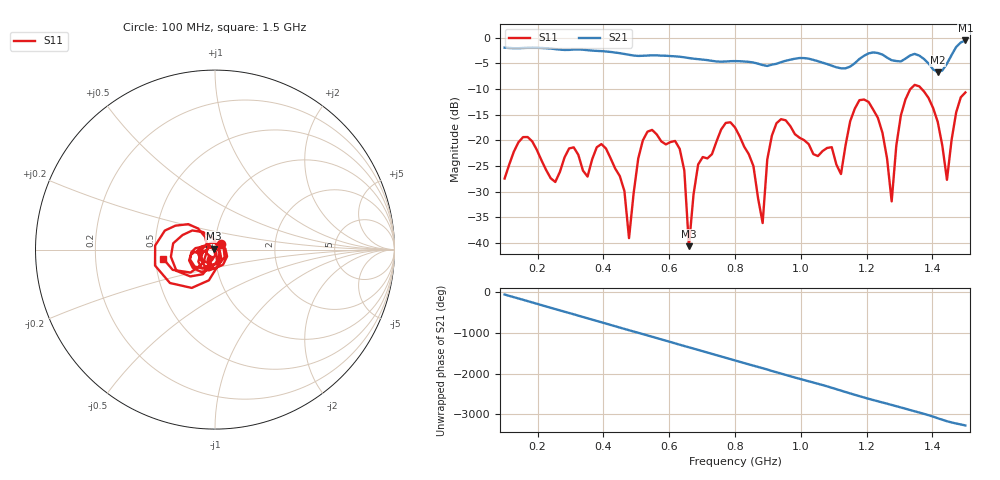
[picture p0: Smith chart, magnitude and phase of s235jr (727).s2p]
! NanoVNA-App
! Date: 2025-09-25 15:09:50
! Start: 100MHz Stop: 1,5GHz Points: 101
! S-Parameter data: F S11 S21 S12 S22
# Hz S RI R 50
!  Frequency  S11_Real  S11_Imag  S21_Real  S21_Imag  S12_Real  S12_Imag  S22_Real  S22_Imag
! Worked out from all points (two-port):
!   101 points, 100 MHz to 1.5 GHz, reference 50 ohm
!   highest |S21| = -0.57 dB at 1.5 GHz (marker M1); lowest = -6.7 dB at 1.416 GHz (marker M2)
!   |S21| within 3 dB of the highest: start of sweep to 503.4 MHz; 512.6 MHz to 594.5 MHz (81.9 MHz wide, 14.8 % of centre) (the widest 2 of 5)
!   lowest |S11| = -40.7 dB at 660 MHz (marker M3), VSWR 1.02, Z = 49.3 + j0.589 ohm
!   |S11| at or under -10 dB: start of sweep to 1.334 GHz; 1.367 GHz to end of sweep
!   S12 and S22 are empty: the file has one direction only
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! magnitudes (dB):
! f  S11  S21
! 100 MHz  -27.5  -2.0
! 156 MHz  -19.4  -2.0
! 338 MHz  -25.9  -2.4
! 408 MHz  -21.6  -2.7
! 478 MHz  -39.1  -3.4
! 520 MHz  -20.0  -3.6
! 576 MHz  -20.2  -3.5
! 632 MHz  -21.7  -3.7
! 660 MHz  -40.7  -4.0
! 688 MHz  -24.7  -4.2
! 800 MHz  -17.5  -4.6
! 884 MHz  -36.1  -5.4
! 898 MHz  -23.8  -5.5
! 926 MHz  -16.7  -5.1
! 1.038 GHz  -22.7  -4.4
! 1.122 GHz  -26.6  -6.0
! 1.206 GHz  -12.6  -3.1
! 1.276 GHz  -31.9  -4.4
! 1.332 GHz  -10.1  -3.5
! 1.416 GHz  -16.4  -6.7
! 1.444 GHz  -27.7  -5.1
! 1.5 GHz  -10.7  -0.6
